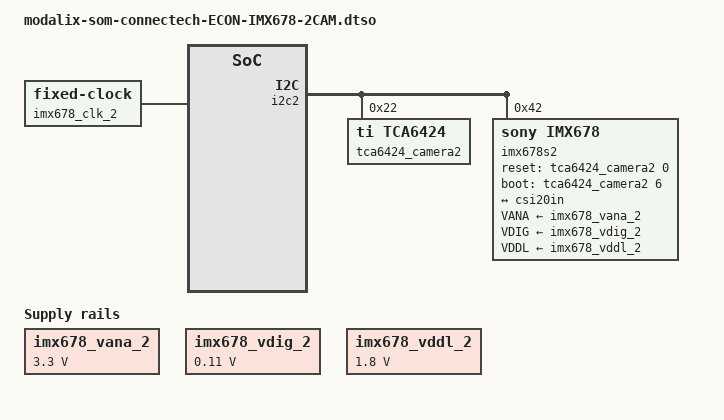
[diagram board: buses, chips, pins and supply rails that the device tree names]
// SPDX-License-Identifier: (GPL-2.0+ OR MIT)
/*
 * Copyright (c) 2026 SiMa ai
 */

/dts-v1/;
/plugin/;

#include "modalix-som-connectech-2CAM.dtsi"

&{/} {
    imx678_vana_2: csi2_fixedregulator@0 {
        compatible = "regulator-fixed";
        regulator-name = "imx678_vana_2";
        regulator-min-microvolt = <3300000>;
        regulator-max-microvolt = <3300000>;
        enable-active-high;
        startup-delay-us = <300000>;
        regulator-always-on;
    };

    imx678_vdig_2: csi2_fixedregulator@1 {
        compatible = "regulator-fixed";
        regulator-name = "imx678_vdig_2";
        regulator-min-microvolt = <110000>;
        regulator-max-microvolt = <110000>;
        regulator-always-on;
    };

    imx678_vddl_2: csi2_fixedregulator@2 {
        compatible = "regulator-fixed";
        regulator-name = "imx678_vddl_2";
        regulator-min-microvolt = <1800000>;
        regulator-max-microvolt = <1800000>;
        regulator-always-on;
    };

    imx678_clk_2: csi2_camera-clk {
        compatible = "fixed-clock";
        #clock-cells = <0>;
        clock-frequency = <37125000>;
    };
};

&csi20in {
    clock-lanes = <0>;
    data-lanes = <1 2>;
    link-frequencies = /bits/ 64 <1040000000>;
    remote-endpoint = <&cam20out>;
    clock-continuous;
};

&i2c2 {
    tca6424_camera2: tca6424@22 {
        compatible = "ti,tca6424";
        gpio-controller;
        #gpio-cells = <2>;
        reg = <0x22>;
        status = "okay";
    };

    imx678s2: imx678@42 {
        compatible = "sony,imx678";
        reg = <0x42>;

        clocks = <&imx678_clk_2>;
        clock-names = "xclk";

        VANA-supply = <&imx678_vana_2>;
        VDIG-supply = <&imx678_vdig_2>;
        VDDL-supply = <&imx678_vddl_2>;

        reset-gpios = <&tca6424_camera2 0 0>;
        boot-gpios = <&tca6424_camera2 6 0>;

        camera_mipi_lanes = <2>;
        cam_fw_name = "imx678_cam_fw.bin";

        port@1 {
            cam20out: endpoint@0 {
                clock-lanes = <0>;
                data-lanes = <1 2>;
                link-frequencies = /bits/ 64 <1040000000>;
                remote-endpoint = <&csi20in>;
                clock-continuous;
            };
        };
    };
};
